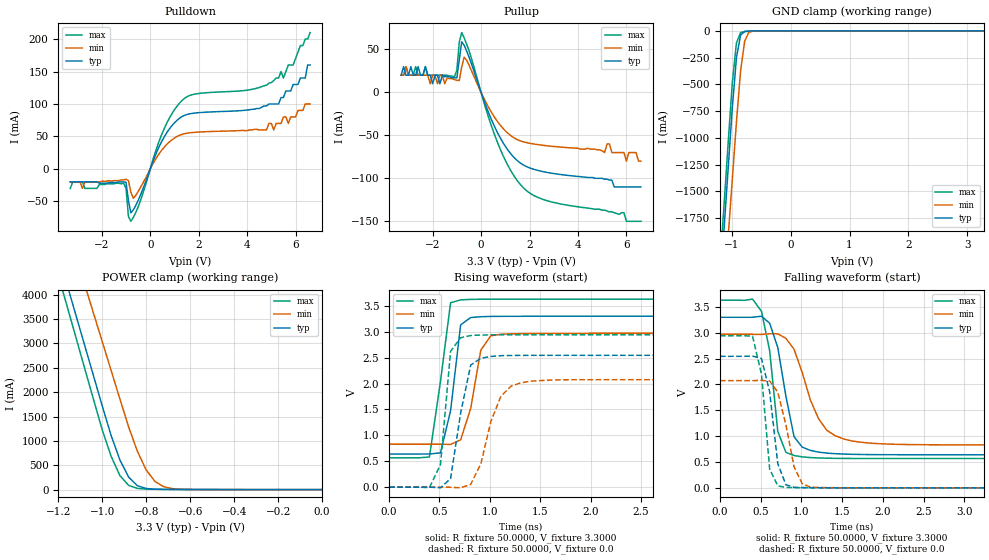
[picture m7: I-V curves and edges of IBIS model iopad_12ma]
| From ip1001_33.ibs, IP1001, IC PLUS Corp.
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|   Model iopad_12ma
[Model]  iopad_12ma
Model_type I/O
Polarity   Non-Inverting
Enable   Active-Low
Vinl =   0.8000V
Vinh =   1.8000V
Vmeas =  1.2500V
C_comp   0.3000pF   0.2400pF   0.3600pF
[Temperature Range]   27.0000   100.0000   0.0
[Voltage Range]   3.3000V   2.9700V   3.6300V
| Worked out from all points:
|   slope of the pulldown table from 0 to 0.495 V, typ, clamps not added: 11.3 ohm
|   slope of the pullup table from 0 to 0.495 V, typ, clamps not added: 13.8 ohm
|   GND clamp passes 1 mA (typ) near -0.63 V on its own axis
|   POWER clamp passes 1 mA (typ) near -0.57 V on its own axis
|   rising waveform, R_fixture 50.0000, V_fixture 3.3000: 20-80 % time 115ps typ, 134ps min, 129ps max; typ from 0.64 V to 3.3 V
|   rising waveform, R_fixture 50.0000, V_fixture 0.0: 20-80 % time 138ps typ, 189ps min, 80.9ps max; typ from 0 V to 2.54 V
|   falling waveform, R_fixture 50.0000, V_fixture 3.3000: 20-80 % time 188ps typ, 306ps min, 142ps max; typ from 3.3 V to 0.64 V
|   falling waveform, R_fixture 50.0000, V_fixture 0.0: 20-80 % time 125ps typ, 169ps min, 111ps max; typ from 2.54 V to 0 V
[Pulldown]
|Voltage   I(typ)   I(min)   I(max)
-3.3V     -20mA      -20mA      -30mA
-1.1V     -20mA      -17mA      -22mA
-1V       -20.5mA    -16mA      -29.9mA
-900mV    -48.9mA    -18mA      -73.26mA
-800mV    -67.65mA   -36mA      -80.69mA
-600mV    -56.52mA   -40.91mA   -67.41mA
500mV     44.13mA    30.08mA    55.38mA
1.3V      80.32mA    53.02mA    104.9mA
5.1V      100mA      60mA       136mA
5.5V      110mA      80mA       140mA
5.7V      120mA      70mA       160mA
6.6V      160mA      100mA      210mA
[Pullup]
|Voltage   I(typ)   I(min)   I(max)
-3.3V     20mA       20mA       20mA
-2.3V     30mA       20mA       30mA
-2V       10mA       20mA       20mA
-1.1V     17mA       15mA       18mA
-1V       17mA       14mA       26mA
-900mV    37.8mA     14mA       58.5mA
-800mV    58.88mA    29.5mA     69.64mA
-600mV    48.51mA    37.58mA    56.54mA
700mV     -48.02mA   -34.75mA   -59.76mA
1.7V      -83.67mA   -57.11mA   -109.6mA
5.3V      -102mA     -60mA      -139mA
6.6V      -110mA     -80mA      -150mA
[GND_clamp]
|Voltage   I(typ)   I(min)   I(max)
-3.3V     -19.41A    -18.96A    -19.6A
-1.2V     -2.411A    -2.98A     -2.198A
-1.13V    -1.844A    -2.447A    -1.618A
-1.06V    -1.278A    -1.914A    -1.038A
-990mV    -713.1mA   -1.382A    -481.3mA
-920mV    -248.8mA   -849.4mA   -111.1mA
-850mV    -39.02mA   -373.5mA   -15.88mA
-780mV    -6.109mA   -94.67mA   -6.703mA
-710mV    -2.353mA   -14.34mA   -4.375mA
-640mV    -1.103mA   -2.066mA   -2.655mA
3.28V     43.51pA    3.97uA     -63.91pA
[POWER_clamp]
|Voltage   I(typ)   I(min)   I(max)
-3.28V    37.2A      36.47A     37.52A
-1.2V     4.828A     5.969A     4.4A
-1.16V    4.205A     5.382A     3.763A
-1.12V    3.582A     4.796A     3.126A
-1.08V    2.96A      4.209A     2.489A
-1.04V    2.337A     3.622A     1.852A
-960mV    1.113A     2.449A     685.8mA
-920mV    611.4mA    1.862A     288.4mA
-840mV    79.46mA    783.6mA    24.69mA
-760mV    7.994mA    166.4mA    7.074mA
-640mV    2.007mA    6.178mA    3.575mA
0V        106.5pA    303.7pA    167.4pA
[Ramp]
| variable   typ   min   max
dV/dt_r  1.5270/0.1382n   1.2450/0.1886n   1.7652/80.8538p
dV/dt_f  1.5960/0.1877n   1.2842/0.3061n   1.8375/0.1421n
R_load = 50.0000
[Rising Waveform]
R_fixture= 50.0000
V_fixture= 3.3000
V_fixture_min= 2.9700
V_fixture_max= 3.6300
|time   V(typ)   V(min)   V(max)
0s        640mV      829.6mV    567.5mV
400ps     640.3mV    829.7mV    582.7mV
510ps     663.5mV    829.8mV    2.046V
610ps     1.475V     825.3mV    3.56V
710ps     3.133V     913.7mV    3.615V
810ps     3.275V     1.522V     3.625V
910ps     3.29V      2.645V     3.628V
1.01ns    3.296V     2.923V     3.629V
1.11ns    3.298V     2.952V     3.629V
10ns      3.3V       2.97V      3.63V
[Rising Waveform]
R_fixture= 50.0000
V_fixture= 0.0
V_fixture_min= 0.0
V_fixture_max= 0.0
|time   V(typ)   V(min)   V(max)
0s        0V         0V         0V
400ps     929.4uV    -9.764uV   -8.709mV
510ps     -12.03mV   139.4uV    437.8mV
610ps     166mV      -1.233mV   2.621V
710ps     1.432V     -12.91mV   2.885V
810ps     2.357V     54.07mV    2.928V
910ps     2.488V     447.4mV    2.937V
1.11ns    2.538V     1.757V     2.942V
1.41ns    2.545V     2.047V     2.942V
10ns      2.545V     2.075V     2.942V
[Falling Waveform]
R_fixture= 50.0000
V_fixture= 3.3000
V_fixture_min= 2.9700
V_fixture_max= 3.6300
|time   V(typ)   V(min)   V(max)
0s        3.3V       2.97V      3.63V
400ps     3.3V       2.97V      3.651V
510ps     3.321V     2.968V     3.414V
610ps     3.184V     2.982V     2.653V
710ps     2.716V     2.981V     1.09V
910ps     989.1mV    2.68V      626.1mV
1.11ns    724.4mV    1.702V     586mV
1.31ns    672.7mV    1.117V     574.4mV
1.72ns    646.4mV    885.2mV    568.3mV
10ns      640mV      829.6mV    567.5mV
[Falling Waveform]
R_fixture= 50.0000
V_fixture= 0.0
V_fixture_min= 0.0
V_fixture_max= 0.0
|time   V(typ)   V(min)   V(max)
0s        2.545V     2.075V     2.942V
400ps     2.549V     2.075V     2.933V
510ps     2.502V     2.079V     2.198V
610ps     1.858V     2.068V     364.4mV
710ps     467.8mV    1.852V     38.51mV
810ps     58.72mV    1.217V     8.482mV
910ps     10.72mV    406mV      4.646mV
1.01ns    5.846mV    79.87mV    2.738mV
1.11ns    3.606mV    15.12mV    1.652mV
10ns      5.492uV    -1.315uV   -1.71uV
